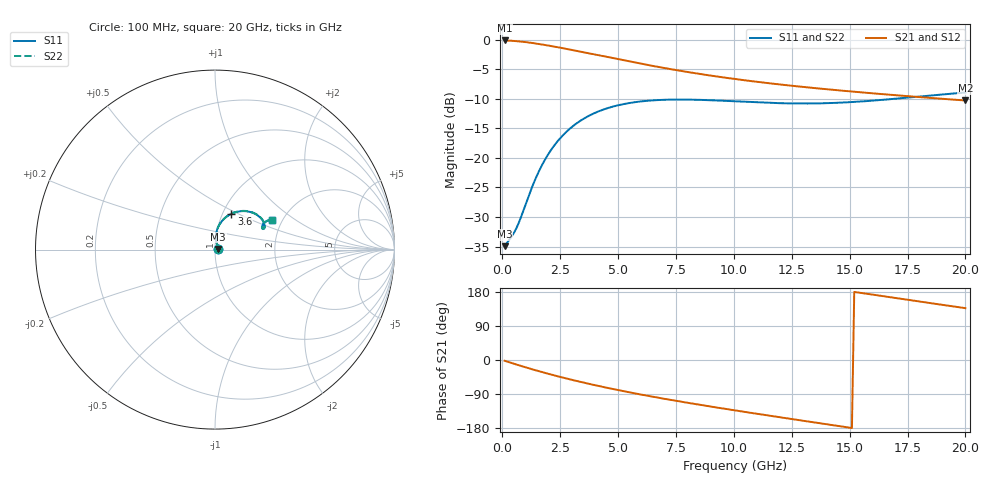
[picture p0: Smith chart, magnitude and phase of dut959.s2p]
! Touchstone file exported from HFSS 2024.1.0
!  File:  C:/UserFiles/LocalFiles/RDL_TSV_Batchsim/temp_RDL_TSV_959_1779967717.aedt
!  Generated:  07:46:58 PM May 28, 2026
!  Design:  RDL_TSV
!  Project:  temp_RDL_TSV_959_1779967717
!  Setup:  Setup1
!  Solution:  Sweep
! Variables:
!  dtsv = 12.23um
!  hbump = 3um
!  htsv = 64.67um
!  ldown = 300.99um
!  lrdl = 597.52um
!  p = 40
!  p1 = 52.65um
!  rhole = 10um
!  subl = 3293.05um
!  t = 450um
!  tdown = 3.62um
!  trdl = 4.35um
!  viad = 10um
!  wdown = 10.6um
!  wrdl = 21.61um
!  xbump = 18um
# GHz S MA R 50.000000
! Terminal data exported
! Port[1] = TM1_1_T1
! Port[2] = TM1_4_T1
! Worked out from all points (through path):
!   200 points, 100 MHz to 20 GHz, reference 50 ohm
!   highest |S21| = -0.16 dB at 100 MHz (marker M1); lowest = -10.3 dB at 20 GHz (marker M2)
!   group delay of S21, straight-line fit = 29.1 ps
!   lowest |S11| = -34.9 dB at 100 MHz (marker M3), VSWR 1.04, Z = 51.8 + j0.385 ohm
!   |S11| at or under -10 dB: start of sweep to 16.99 GHz
!   |S22| runs from -34.9 to -8.9 dB; largest |S21 - S12| = 7.2e-14
!   S11 on the Smith chart (normalised r, x): 100 MHz: 1.04, +0.01; 3.6 GHz: 1.10, +0.46; 20 GHz: 1.76, +0.67
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0.1  0.01794 12.0  0.982 -2.0  0.982 -2.0  0.01794 12.0
! Gamma 0 0 0 0
! Port Impedance 50 0 50 0
0.6  0.02525 54.4  0.9694 -11.8  0.9694 -11.8  0.02523 54.5
1  0.04013 77.4  0.9515 -19.3  0.9515 -19.3  0.04015 77.5
1.4  0.0642 85.5  0.9285 -26.4  0.9285 -26.4  0.06429 85.6
1.7  0.0857 86.1  0.909 -31.6  0.909 -31.6  0.08586 86.2
2  0.1085 84.3  0.8885 -36.6  0.8885 -36.6  0.1087 84.5
2.3  0.1315 81.4  0.8672 -41.5  0.8672 -41.5  0.1318 81.6
2.7  0.1612 76.7  0.8385 -47.7  0.8385 -47.7  0.1616 76.9
3.5  0.2134 66.6  0.7813 -59.5  0.7813 -59.5  0.2141 66.8
3.6  0.2191 65.4  0.7742 -60.9  0.7742 -60.9  0.2198 65.6
4.3  0.2533 57.2  0.7265 -70.4  0.7265 -70.4  0.2543 57.4
5.2  0.2838 48.1  0.6696 -81.8  0.6696 -81.8  0.285 48.3
6  0.3001 41.4  0.6242 -91.3  0.6242 -91.3  0.3015 41.5
6.8  0.3085 35.8  0.5836 -100.2  0.5836 -100.2  0.3101 35.9
8.4  0.3096 28.0  0.5166 -116.9  0.5166 -116.9  0.3115 28.1
10.1  0.3001 23.8  0.4624 -133.5  0.4624 -133.5  0.3021 23.9
11.7  0.2909 23.1  0.4232 -148.4  0.4232 -148.4  0.293 23.1
13.4  0.2882 24.7  0.3903 -164.0  0.3903 -164.0  0.2903 24.6
15  0.2955 26.9  0.3649 -178.6  0.3649 -178.6  0.2974 26.8
16.7  0.3126 28.6  0.342 166.1  0.342 166.1  0.3142 28.4
18.4  0.3351 28.9  0.322 150.9  0.322 150.9  0.3365 28.7
20  0.3567 27.9  0.3054 136.8  0.3054 136.8  0.358 27.7
